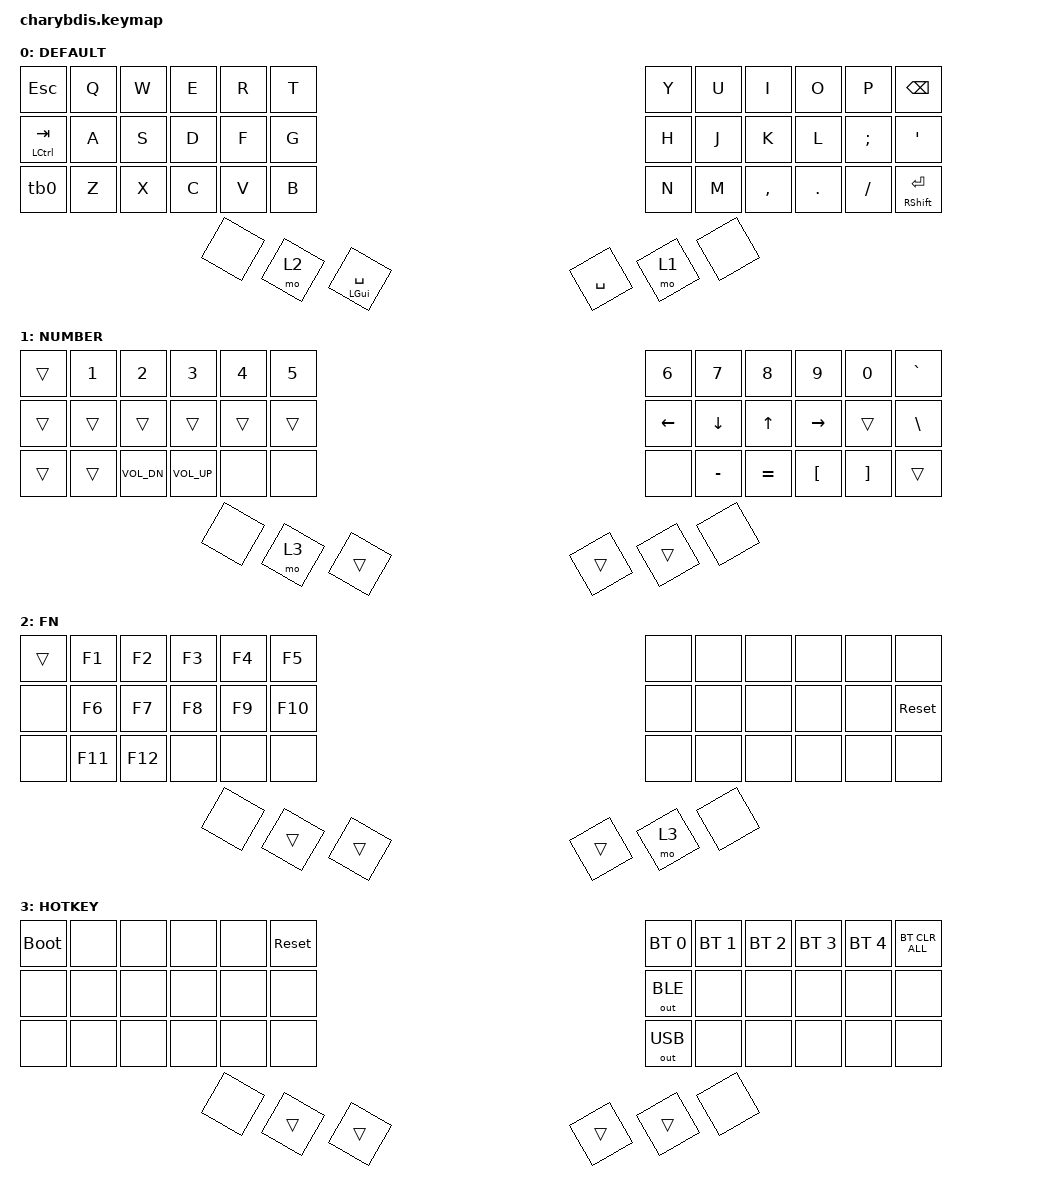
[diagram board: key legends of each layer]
#include <dt-bindings/zmk/mouse.h>
#include <behaviors.dtsi>
#include <dt-bindings/zmk/bt.h>
#include <dt-bindings/zmk/keys.h>
#include <dt-bindings/zmk/outputs.h>

#define DEFAULT 0
#define NUMBER  1
#define FN  2
#define HOTKEY  3

/ {
    behaviors {
        tb0: tb0 {
            compatible = "zmk,behavior-tap-dance";
            label = "TB0";
            #binding-cells = <0>;
            bindings = <&kp RS(LEFT_SHIFT)>, <&kp CAPS>;

            tapping-term-ms = <150>;
        };
    };

    keymap {
        compatible = "zmk,keymap";

        default_layer {
            label = "DEFAULT";
            bindings = <
&kp ESC               &kp Q  &kp W  &kp E  &kp R  &kp T               &kp Y      &kp U  &kp I      &kp O    &kp P     &kp BACKSPACE
&mt LEFT_CONTROL TAB  &kp A  &kp S  &kp D  &kp F  &kp G               &kp H      &kp J  &kp K      &kp L    &kp SEMI  &kp SQT
&tb0                  &kp Z  &kp X  &kp C  &kp V  &kp B               &kp N      &kp M  &kp COMMA  &kp DOT  &kp FSLH  &mt RSHFT ENTER
                                    &none  &mo 2  &mt LEFT_GUI SPACE  &kp SPACE  &mo 1  &none
            >;
        };

        number_layer {
            label = "NUMBER";
            bindings = <
&trans  &kp NUMBER_1  &kp NUMBER_2  &kp NUMBER_3  &kp NUMBER_4  &kp N5  &kp NUMBER_6  &kp N7     &kp N8        &kp N9            &kp N0             &kp GRAVE
&trans  &trans        &trans        &trans        &trans        &trans  &kp LEFT      &kp DOWN   &kp UP_ARROW  &kp RIGHT         &trans             &kp BACKSLASH
&trans  &trans        &kp C_VOL_DN  &kp C_VOL_UP  &none         &none   &none         &kp MINUS  &kp EQUAL     &kp LEFT_BRACKET  &kp RIGHT_BRACKET  &trans
                                    &none         &mo 3         &trans  &trans        &trans     &none
            >;
        };

        fn_layer {
            label = "FN";
            bindings = <
&trans  &kp F1   &kp F2   &kp F3  &kp F4  &kp F5   &none   &none  &none  &none  &none  &none
&none   &kp F6   &kp F7   &kp F8  &kp F9  &kp F10  &none   &none  &none  &none  &none  &sys_reset
&none   &kp F11  &kp F12  &none   &none   &none    &none   &none  &none  &none  &none  &none
                          &none   &trans  &trans   &trans  &mo 3  &none
            >;
        };

        hotkey_layer {
            label = "HOTKEY";
            bindings = <
&bootloader  &none  &none  &none  &none   &sys_reset  &bt BT_SEL 0  &bt BT_SEL 1  &bt BT_SEL 2  &bt BT_SEL 3  &bt BT_SEL 4  &bt BT_CLR_ALL
&none        &none  &none  &none  &none   &none       &out OUT_BLE  &none         &none         &none         &none         &none
&none        &none  &none  &none  &none   &none       &out OUT_USB  &none         &none         &none         &none         &none
                           &none  &trans  &trans      &trans        &trans        &none
            >;
        };
    };

    conditional_layers { compatible = "zmk,conditional-layers"; };
};
